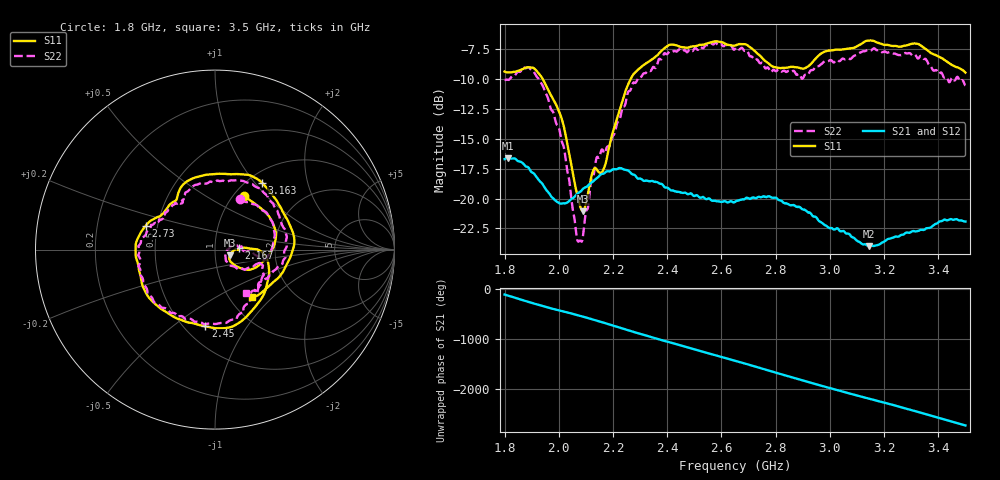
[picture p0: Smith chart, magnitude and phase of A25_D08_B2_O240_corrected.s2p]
! Created with skrf 1.9.0 (http://scikit-rf.org).
# Hz S RI R 50.0
!freq ReS11 ImS11 ReS21 ImS21 ReS12 ImS12 ReS22 ImS22
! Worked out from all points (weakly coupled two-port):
!   1601 points, 1.8 GHz to 3.5 GHz, reference 50 ohm
!   highest |S21| = -16.62 dB at 1.814 GHz (marker M1); lowest = -24.0 dB at 3.144 GHz (marker M2)
!   lowest |S11| = -21.1 dB at 2.089 GHz (marker M3), VSWR 1.19, Z = 58.8 - j3.87 ohm
!   |S11| at or under -10 dB: 1.941 GHz to 2.265 GHz (324.2 MHz wide, 15.4 % of centre)
!   |S22| runs from -23.6 to -6.9 dB; largest |S21 - S12| = 0.0029
!   S11 on the Smith chart (normalised r, x): 1.8 GHz: 1.12, +0.76; 2.167 GHz: 1.31, +0.02; 2.45 GHz: 0.63, -0.66; 2.73 GHz: 0.43, +0.14; 3.163 GHz: 1.16, +1.09; 3.5 GHz: 1.27, -0.76
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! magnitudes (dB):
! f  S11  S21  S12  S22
! 1.8 GHz  -9.4  -16.7  -16.7  -10.1
! 1.814 GHz  -9.4  -16.6  -16.6  -10.1
! 1.887 GHz  -9.0  -17.4  -17.5  -9.0
! 1.942 GHz  -10.1  -18.9  -18.9  -10.6
! 2.011 GHz  -13.4  -20.4  -20.4  -15.3
! 2.066 GHz  -19.5  -19.7  -19.7  -23.2
! 2.084 GHz  -21.0  -19.3  -19.3  -23.6
! 2.089 GHz  -21.1  -19.2  -19.2  -23.2
! 2.136 GHz  -17.5  -18.4  -18.4  -17.0
! 2.167 GHz  -17.5  -17.9  -17.9  -16.2
! 2.261 GHz  -10.2  -17.8  -17.8  -11.0
! 2.367 GHz  -7.9  -18.7  -18.6  -8.4
! 2.45 GHz  -7.3  -19.5  -19.5  -7.6
! 2.65 GHz  -7.2  -20.3  -20.3  -7.5
! 2.73 GHz  -7.8  -19.9  -20.0  -8.4
! 2.806 GHz  -9.0  -20.0  -20.0  -9.3
! 2.934 GHz  -8.6  -21.4  -21.4  -9.2
! 3.144 GHz  -6.8  -24.0  -23.9  -7.5
! 3.163 GHz  -6.8  -24.0  -23.9  -7.4
! 3.217 GHz  -7.2  -23.4  -23.3  -7.8
! 3.325 GHz  -7.1  -22.7  -22.7  -8.3
! 3.5 GHz  -9.5  -21.9  -21.9  -10.5
